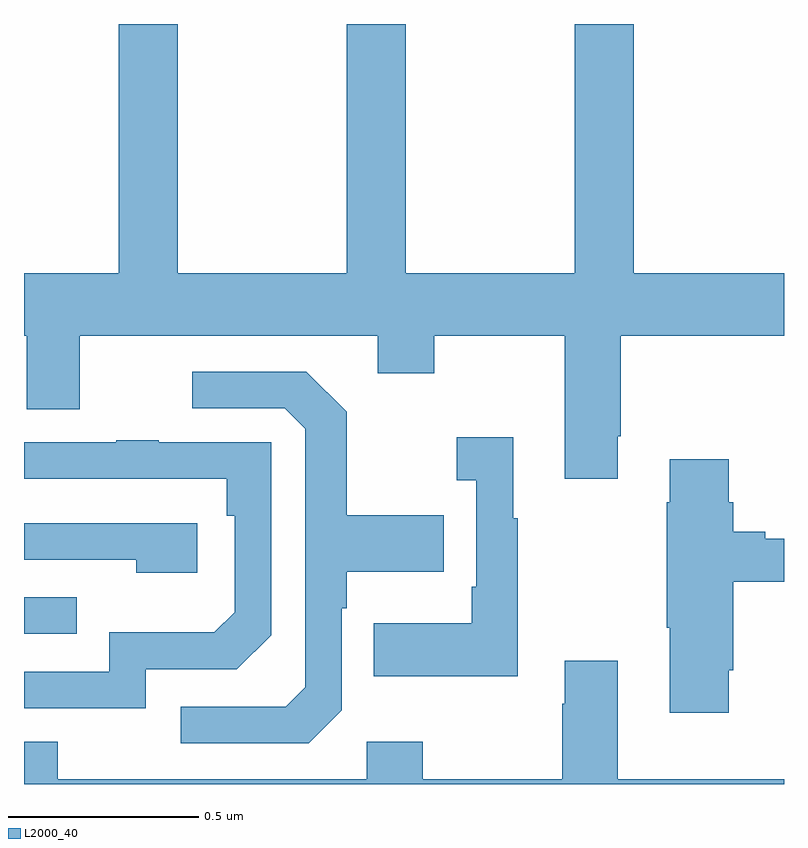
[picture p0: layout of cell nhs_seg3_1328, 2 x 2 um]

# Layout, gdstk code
import gdstk
lib = gdstk.Library(unit=1e-6, precision=1e-09)
def R(c, l, rs):  # rectangles x0, y0, x1, y1
    for r in rs: c.add(gdstk.rectangle(r[:2], r[2:], *l))
def P(c, l, *ps):  # polygons
    for p in ps: c.add(gdstk.Polygon(p, *l))
L2000_40 = (2000, 40)

nhs_seg3_1328 = lib.new_cell('nhs_seg3_1328')
R(nhs_seg3_1328, L2000_40, [(127,702.795,127.139,702.891)])
P(nhs_seg3_1328, L2000_40, [(128.563,703.315),(128.571,703.315),(128.571,703.58),(129,703.58),(129,703.744),(128.604,703.744),(128.604,704.4),(128.449,704.4),(128.449,703.744),(128.004,703.744),(128.004,704.4),(127.849,704.4),(127.849,703.744),(127.404,703.744),(127.404,704.4),(127.249,704.4),(127.249,703.744),(127,703.744),(127,703.58),(127.007,703.58),(127.007,703.386),(127.147,703.386),(127.147,703.58),(127.931,703.58),(127.931,703.481),(128.079,703.481),(128.079,703.58),(128.423,703.58),(128.423,703.203),(128.563,703.203)],
  [(127.836,702.594),(127.836,702.863),(127.849,702.863),(127.849,702.959),(128.105,702.959),(128.105,703.107),(127.849,703.107),(127.849,703.379),(127.743,703.485),(127.443,703.485),(127.443,703.389),(127.686,703.389),(127.74,703.335),(127.74,702.654),(127.689,702.603),(127.413,702.603),(127.413,702.507),(127.749,702.507)],
  [(128.299,703.099),(128.287,703.099),(128.287,703.312),(128.139,703.312),(128.139,703.199),(128.19,703.199),(128.19,702.919),(128.178,702.919),(128.178,702.823),(127.921,702.823),(127.921,702.683),(128.299,702.683)],
  [(127.32,702.702),(127.56,702.702),(127.65,702.792),(127.65,703.299),(127.355,703.299),(127.355,703.304),(127.243,703.304),(127.243,703.299),(127,703.299),(127,703.203),(127.534,703.203),(127.534,703.106),(127.554,703.106),(127.554,702.852),(127.501,702.799),(127.224,702.799),(127.224,702.696),(127,702.696),(127,702.6),(127.32,702.6)],
  [(128.854,702.7),(128.867,702.7),(128.867,702.932),(129,702.932),(129,703.045),(128.95,703.045),(128.95,703.064),(128.867,703.064),(128.867,703.142),(128.854,703.142),(128.854,703.255),(128.699,703.255),(128.699,703.142),(128.692,703.142),(128.692,702.811),(128.699,702.811),(128.699,702.588),(128.854,702.588)],
  [(127.456,703.086),(127,703.086),(127,702.99),(127.295,702.99),(127.295,702.956),(127.456,702.956)],
  [(129,702.412),(128.563,702.412),(128.563,702.724),(128.423,702.724),(128.423,702.611),(128.416,702.611),(128.416,702.412),(128.049,702.412),(128.049,702.511),(127.902,702.511),(127.902,702.412),(127.089,702.412),(127.089,702.511),(127,702.511),(127,702.4),(129,702.4)])

lib.write_gds('nhs_seg3_1328.gds')
